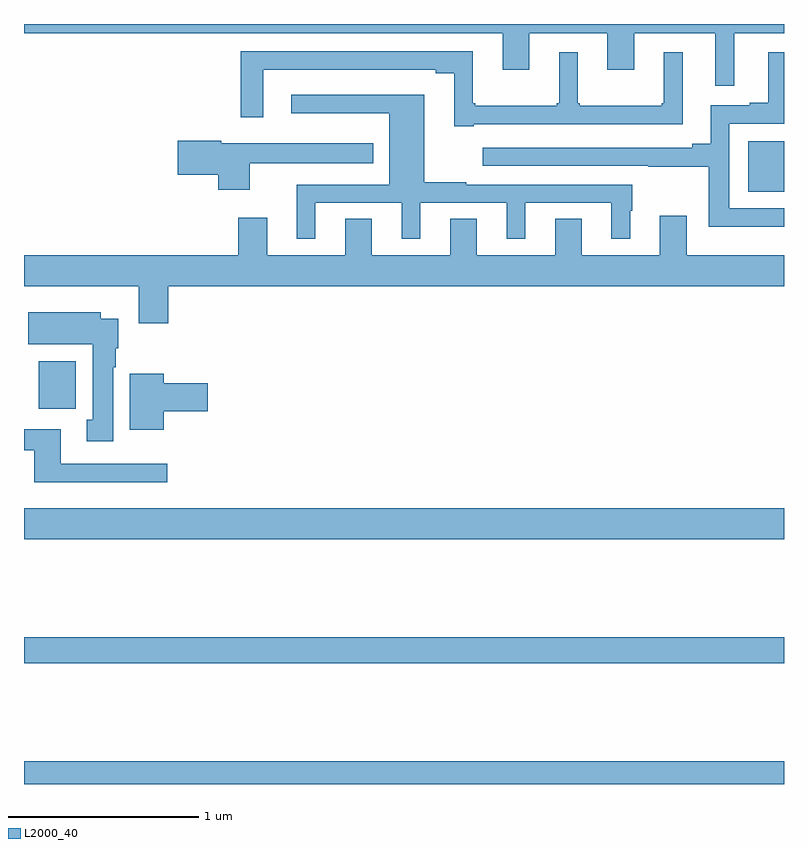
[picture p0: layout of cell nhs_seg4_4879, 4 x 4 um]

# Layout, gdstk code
import gdstk
lib = gdstk.Library(unit=1e-6, precision=1e-09)
def R(c, l, rs):  # rectangles x0, y0, x1, y1
    for r in rs: c.add(gdstk.rectangle(r[:2], r[2:], *l))
def P(c, l, *ps):  # polygons
    for p in ps: c.add(gdstk.Polygon(p, *l))
L2000_40 = (2000, 40)

nhs_seg4_4879 = lib.new_cell('nhs_seg4_4879')
R(nhs_seg4_4879, L2000_40, [(375,760.9,379,761.02), (375,761.536,379,761.672), (375,762.188,379,762.352), (375.077,762.876,375.273,763.126), (378.812,764.018,379,764.284)])
P(nhs_seg4_4879, L2000_40, [(378.737,764.852),(379,764.852),(379,764.9),(375,764.9),(375,764.852),(377.519,764.852),(377.519,764.658),(377.659,764.658),(377.659,764.852),(378.071,764.852),(378.071,764.658),(378.211,764.658),(378.211,764.852),(378.638,764.852),(378.638,764.574),(378.737,764.574)],
  [(377.368,764.373),(378.466,764.373),(378.466,764.752),(378.368,764.752),(378.368,764.482),(378.357,764.482),(378.357,764.471),(377.926,764.471),(377.926,764.482),(377.914,764.482),(377.914,764.752),(377.816,764.752),(377.816,764.482),(377.805,764.482),(377.805,764.471),(377.374,764.471),(377.374,764.482),(377.362,764.482),(377.362,764.757),(376.141,764.757),(376.141,764.409),(376.258,764.409),(376.258,764.66),(377.168,764.66),(377.168,764.641),(377.264,764.641),(377.264,764.361),(377.368,764.361)],
  [(379,763.929),(378.711,763.929),(378.711,764.376),(379,764.376),(379,764.752),(378.917,764.752),(378.917,764.485),(378.821,764.485),(378.821,764.472),(378.614,764.472),(378.614,764.27),(378.518,764.27),(378.518,764.25),(377.415,764.25),(377.415,764.154),(378.286,764.154),(378.286,764.149),(378.603,764.149),(378.603,763.832),(379,763.832)],
  [(376.534,763.959),(376.988,763.959),(376.988,763.769),(377.086,763.769),(377.086,763.959),(377.54,763.959),(377.54,763.769),(377.638,763.769),(377.638,763.959),(378.092,763.959),(378.092,763.769),(378.19,763.769),(378.19,763.916),(378.202,763.916),(378.202,764.055),(377.327,764.055),(377.327,764.068),(377.107,764.068),(377.107,764.527),(376.407,764.527),(376.407,764.429),(376.922,764.429),(376.922,764.055),(376.435,764.055),(376.435,763.916),(376.436,763.916),(376.436,763.769),(376.534,763.769)],
  [(376.189,764.168),(376.837,764.168),(376.837,764.272),(376.038,764.272),(376.038,764.285),(375.81,764.285),(375.81,764.107),(376.022,764.107),(376.022,764.028),(376.189,764.028)],
  [(375.758,763.52),(379,763.52),(379,763.684),(378.487,763.684),(378.487,763.891),(378.347,763.891),(378.347,763.684),(377.935,763.684),(377.935,763.874),(377.795,763.874),(377.795,763.684),(377.383,763.684),(377.383,763.874),(377.243,763.874),(377.243,763.684),(376.831,763.684),(376.831,763.874),(376.691,763.874),(376.691,763.684),(376.279,763.684),(376.279,763.879),(376.127,763.879),(376.127,763.684),(375,763.684),(375,763.52),(375.605,763.52),(375.605,763.326),(375.758,763.326)],
  [(375.469,763.094),(375.484,763.094),(375.484,763.194),(375.496,763.194),(375.496,763.348),(375.403,763.348),(375.403,763.384),(375.023,763.384),(375.023,763.214),(375.362,763.214),(375.362,762.817),(375.329,762.817),(375.329,762.705),(375.469,762.705)],
  [(375.736,762.863),(375.967,762.863),(375.967,763.01),(375.736,763.01),(375.736,763.06),(375.557,763.06),(375.557,762.764),(375.736,762.764)],
  [(375.754,762.585),(375.193,762.585),(375.193,762.766),(375,762.766),(375,762.657),(375.053,762.657),(375.053,762.488),(375.754,762.488)])

lib.write_gds('nhs_seg4_4879.gds')
